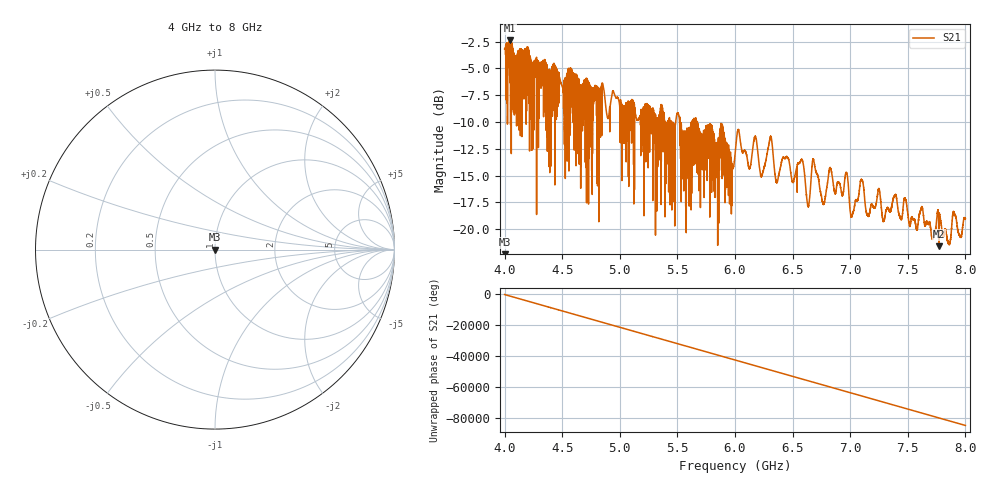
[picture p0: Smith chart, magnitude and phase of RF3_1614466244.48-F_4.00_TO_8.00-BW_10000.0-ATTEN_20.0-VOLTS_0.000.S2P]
!Keysight Technologies,E5063A,MY54502693,A.05.04
!Date: Sat Feb 27 15:51:03 2021
!Data & Calibration Information:
!Freq	S11:NONE(--)	S21:NONE(--)	S12:NONE(--)	S22:NONE(--)
# Hz S RI R 50
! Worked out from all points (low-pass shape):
!   10000 points, 4 GHz to 8 GHz, reference 50 ohm
!   highest |S21| = -2.40 dB at 4.047 GHz (marker M1); lowest = -21.6 dB at 7.769 GHz (marker M2)
!   |S21| within 3 dB of the highest: 4.025463 GHz to 4.043568 GHz (18.1 MHz wide, 0.449 % of centre); 4.260959 GHz to 4.277267 GHz (16.31 MHz wide, 0.382 % of centre) (the widest 2 of 160)
!   lowest |S11| = - dB at 4 GHz (marker M3), VSWR 1.00, Z = 50 + j0 ohm
!   |S11| at or under -10 dB: start of sweep to end of sweep
!   S12 and S22 are empty: the file has one direction only
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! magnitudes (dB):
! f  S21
! 4 GHz  -3.2
! 4.047 GHz  -2.4
! 4.667 GHz  -7.4
! 5.334 GHz  -10.6
! 6 GHz  -13.1
! 6.176 GHz  -11.4
! 6.233 GHz  -15.0
! 6.308 GHz  -11.4
! 6.363 GHz  -15.7
! 6.58 GHz  -13.5
! 6.634 GHz  -17.9
! 6.667 GHz  -14.4
! 6.765 GHz  -17.7
! 6.828 GHz  -14.3
! 6.968 GHz  -14.7
! 7.015 GHz  -18.8
! 7.099 GHz  -15.4
! 7.152 GHz  -18.8
! 7.334 GHz  -18.1
! 7.769 GHz  -21.6
! 7.855 GHz  -21.3
! 8 GHz  -19.0
